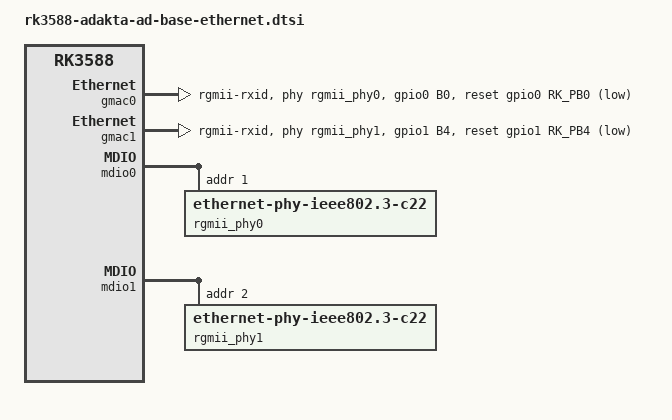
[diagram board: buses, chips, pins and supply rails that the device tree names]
// SPDX-License-Identifier: (GPL-2.0+ OR MIT)
/*
 * Copyright (c) 2024 Adakta, Ltd.
 *
 */

/ {
	aliases {
		ethernet0 = &gmac0;
		ethernet1 = &gmac1;
	};
};

&pinctrl {
	rtl8211f {
		rtl8211f_0_rst: rtl8211f-0-rst {
			rockchip,pins = <0 RK_PB0 RK_FUNC_GPIO &pcfg_pull_none>;
		};

		/omit-if-no-ref/
		rtl8211f_0_int: rtl8211f-0-int {
			rockchip,pins = <0 RK_PB3 RK_FUNC_GPIO &pcfg_pull_up>;
		};

		rtl8211f_1_rst: rtl8211f-1-rst {
			rockchip,pins = <1 RK_PB4 RK_FUNC_GPIO &pcfg_pull_none>;
		};

		/omit-if-no-ref/
		rtl8211f_1_int: rtl8211f-1-int {
			rockchip,pins = <1 RK_PB5 RK_FUNC_GPIO &pcfg_pull_up>;
		};
	};
};

&gmac0 {
	/* Use rgmii-rxid mode to disable rx delay inside Soc */
	phy-mode = "rgmii-rxid";
	clock_in_out = "output";

	snps,no-vlhash;
	snps,reset-gpio = <&gpio0 RK_PB0 GPIO_ACTIVE_LOW>;
	snps,reset-active-low;
	/* Reset time is 20ms, 100ms for rtl8211f */
	snps,reset-delays-us = <0 20000 100000>;

	//interrupt-names = "macirq";
	//interrupt-parent = <&gpio4>;
	//interrupts = <RK_PC6 IRQ_TYPE_LEVEL_HIGH>;

	pinctrl-names = "default";
	pinctrl-0 = <&gmac0_miim
		     &gmac0_tx_bus2
		     &gmac0_rx_bus2
		     &gmac0_rgmii_clk
		     &gmac0_rgmii_bus
		     &rtl8211f_0_rst>;

	tx_delay = <0x44>;
	/* rx_delay = <0x00>; */

	phy-handle = <&rgmii_phy0>;
	status = "okay";
};

&gmac1 {
	/* Use rgmii-rxid mode to disable rx delay inside Soc */
	phy-mode = "rgmii-rxid";
	clock_in_out = "output";

	snps,no-vlhash;
	snps,reset-gpio = <&gpio1 RK_PB4 GPIO_ACTIVE_LOW>;
	snps,reset-active-low;
	/* Reset time is 20ms, 100ms for rtl8211f */
	snps,reset-delays-us = <0 20000 100000>;

	//interrupt-names = "macirq";
	//interrupt-parent = <&gpio1>;
	//interrupts = <RK_PB5 IRQ_TYPE_LEVEL_HIGH>;

	pinctrl-names = "default";
	pinctrl-0 = <&gmac1_miim
		     &gmac1_tx_bus2
		     &gmac1_rx_bus2
		     &gmac1_rgmii_clk
		     &gmac1_rgmii_bus
		     &rtl8211f_1_rst>;

	tx_delay = <0x44>;
	/* rx_delay = <0x00>; */

	phy-handle = <&rgmii_phy1>;
	status = "okay";
};

&mdio0 {
	rgmii_phy0: phy@1 {
		compatible = "ethernet-phy-ieee802.3-c22";
		reg = <0x1>;
	};
};

&mdio1 {
	rgmii_phy1: phy@1 {
		compatible = "ethernet-phy-ieee802.3-c22";
		reg = <0x2>;
	};
};
